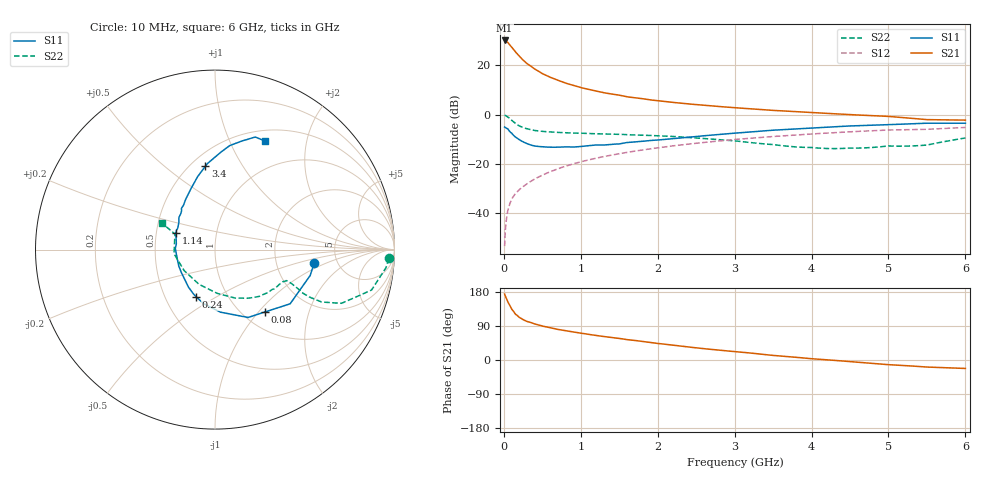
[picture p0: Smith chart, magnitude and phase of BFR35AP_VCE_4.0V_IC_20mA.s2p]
! Infineon Technologies  Discrete & RF Semiconductors
! BFR35AP
! VCE =  4.0 V,  IC =  20 mA
! Common Emitter S-Parameters:  Nov 2015
# GHz  S  MA  R  50
!  f  S11  S21  S12  S22
! GHz  MAG  ANG  MAG  ANG  MAG  ANG  MAG  ANG
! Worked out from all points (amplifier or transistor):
!   210 points, 10 MHz to 6 GHz, reference 50 ohm
!   highest |S21| = 30.1 dB at 10 MHz (marker M1)
!   |S21| within 3 dB of that: start of sweep to 109.6 MHz
!   unconditionally stable (mu >= 1): 397.7 MHz to 2.948 GHz
!   at 185 MHz: K = 0.74, MSG = 27.7 dB, |S12| = -31.1 dB
!   at 1.52 GHz: K = 1.10, MAG = 9.9 dB, |S12| = -15.8 dB
!   at 6 GHz: K = 0.94, MSG = 1.5 dB, |S12| = -5.3 dB
!   S11 on the Smith chart (normalised r, x): 10 MHz: 3.35, -0.72; 80 MHz: 1.25, -1.08; 240 MHz: 0.71, -0.41; 1.14 GHz: 0.63, +0.12; 3.4 GHz: 0.59, +0.70; 6 GHz: 0.63, +1.37
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0.01  0.5578 -7.6  32.13 174.1  0.0021 91.0  0.9707 -2.9
0.02  0.5496 -15.2  31.6 168.5  0.0045 82.8  0.9576 -6.1
0.05  0.5162 -35.8  29.45 153.6  0.0109 75.8  0.9007 -14.5
0.08  0.4452 -51.3  25.69 143.1  0.0156 70.7  0.8175 -19.3
0.1  0.4207 -64.0  23.78 134.5  0.0188 68.7  0.7657 -23.0
0.15  0.3499 -85.0  18.86 121.1  0.0246 66.5  0.6607 -26.2
0.2  0.3088 -101.6  15.37 112.6  0.0295 66.4  0.5872 -26.7
0.24  0.2837 -111.6  13.28 107.8  0.0333 66.7  0.5497 -26.4
0.3  0.2564 -125.1  10.92 101.8  0.0389 68.1  0.5131 -25.3
0.4  0.2295 -142.9  8.459 95.2  0.0487 69.2  0.4737 -24.1
0.5  0.2215 -155.7  6.804 89.4  0.0583 70.4  0.4538 -23.6
0.6  0.2167 -165.3  5.755 85.2  0.0684 70.4  0.4427 -23.5
0.8  0.2212 178.6  4.363 77.3  0.0885 69.9  0.4276 -24.4
1.02  0.2253 163.9  3.481 70.2  0.1113 69.0  0.4164 -26.2
1.14  0.2356 157.3  3.149 66.5  0.1232 67.9  0.4089 -27.9
1.6  0.2695 138.2  2.293 53.8  0.1699 63.8  0.3886 -34.8
2.02  0.3049 124.9  1.894 43.3  0.2121 59.5  0.3677 -42.5
3.1  0.4295 101.6  1.343 20.4  0.3195 46.5  0.2803 -70.8
3.4  0.4671 96.7  1.244 14.3  0.3475 42.7  0.2516 -82.4
4.1  0.5433 86.6  1.079 2.0  0.4111 33.6  0.2073 -120.5
5.1  0.6306 75.0  0.89 -13.4  0.4868 19.4  0.2273 -179.7
6  0.6662 65.2  0.77 -22.3  0.5458 8.9  0.3333 153.4
